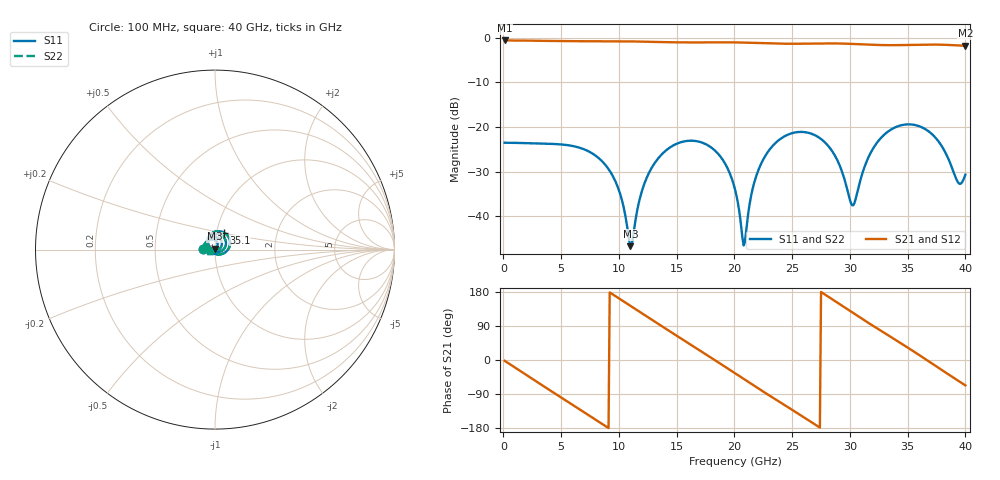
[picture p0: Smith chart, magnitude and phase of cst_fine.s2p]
! thru_s8_L3: 2×thru, L3, 8 mm
! stackup: 8-layer 1.6 mm FR-4 (generic)
! ports: 1, 2
! CST Studio Suite 2025.5 Release from 2025-05-30, time domain (FIT, hexahedral, PBA), 231000 mesh cells, 42 s
! mesh: {'lpw': 30.0, 'lpb': 30.0, 'minstep': 0.0, 'ratio': 20}; ports: port 1 (face); port 2 (face)
! interpolated from CST's 1001 samples to the case grid
# Hz S RI R 50
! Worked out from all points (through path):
!   400 points, 100 MHz to 40 GHz, reference 50 ohm
!   highest |S21| = -0.59 dB at 100 MHz (marker M1); lowest = -1.8 dB at 40 GHz (marker M2)
!   group delay of S21, straight-line fit = 54.5 ps
!   lowest |S11| = -46.7 dB at 11 GHz (marker M3), VSWR 1.01, Z = 49.9 + j0.451 ohm
!   |S11| at or under -10 dB: start of sweep to end of sweep
!   |S22| runs from -46.7 to -19.4 dB; largest |S21 - S12| = 4.5e-07
!   S11 on the Smith chart (normalised r, x): 100 MHz: 0.87, +0.00; 35.1 GHz: 1.08, +0.21; 40 GHz: 0.94, -0.01
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1e8  -0.0667 0.00125  0.9337 -0.0325  0.9337 -0.0325  -0.0667 0.00125
3.6e9  -0.0512 0.0404  0.2925 -0.8772  0.2925 -0.8772  -0.0512 0.0404
6.8e9  -0.0101 0.0566  -0.6403 -0.6552  -0.6403 -0.6552  -0.0101 0.0566
9.6e9  0.0141 0.0221  -0.9026 0.1519  -0.9026 0.1519  0.0141 0.0221
1.1e10  -0.00104 0.00452  -0.7246 0.5532  -0.7246 0.5532  -0.00104 0.00452
1.2e10  -0.0189 0.00428  -0.4914 0.7617  -0.4914 0.7617  -0.0189 0.00428
1.34e10  -0.0374 0.0243  -0.0831 0.8936  -0.0831 0.8936  -0.0374 0.0243
1.71e10  0.0198 0.0647  0.8156 0.3537  0.8156 0.3537  0.0198 0.0647
1.89e10  0.0373 0.0246  0.8715 -0.1869  0.8715 -0.1869  0.0373 0.0246
2.01e10  0.0189 -9.85e-05  0.7183 -0.5228  0.7183 -0.5228  0.0189 -9.85e-05
2.08e10  0.00054 -0.00468  0.5685 -0.6774  0.5685 -0.6774  0.00054 -0.00468
2.16e10  -0.0208 0.00181  0.3594 -0.801  0.3594 -0.801  -0.0208 0.00181
2.27e10  -0.039 0.0283  0.0401 -0.8672  0.0401 -0.8672  -0.039 0.0283
2.67e10  0.0506 0.0669  -0.8322 -0.2291  -0.8322 -0.2291  0.0506 0.0669
2.87e10  0.0479 0.00174  -0.7874 0.3594  -0.7874 0.3594  0.0479 0.00174
3.02e10  -0.00209 -0.0131  -0.4953 0.6967  -0.4953 0.6967  -0.00209 -0.0131
3.17e10  -0.0414 0.0255  -0.088 0.8334  -0.088 0.8334  -0.0414 0.0255
3.34e10  -0.0207 0.0886  0.3681 0.741  0.3681 0.741  -0.0207 0.0886
3.51e10  0.0493 0.0953  0.7145 0.4279  0.7145 0.4279  0.0493 0.0953
3.74e10  0.0761 0.00575  0.8111 -0.2185  0.8111 -0.2185  0.0761 0.00575
3.94e10  -0.0043 -0.0233  0.468 -0.6753  0.468 -0.6753  -0.0043 -0.0233
4e10  -0.0283 -0.00782  0.3176 -0.749  0.3176 -0.749  -0.0283 -0.00782
